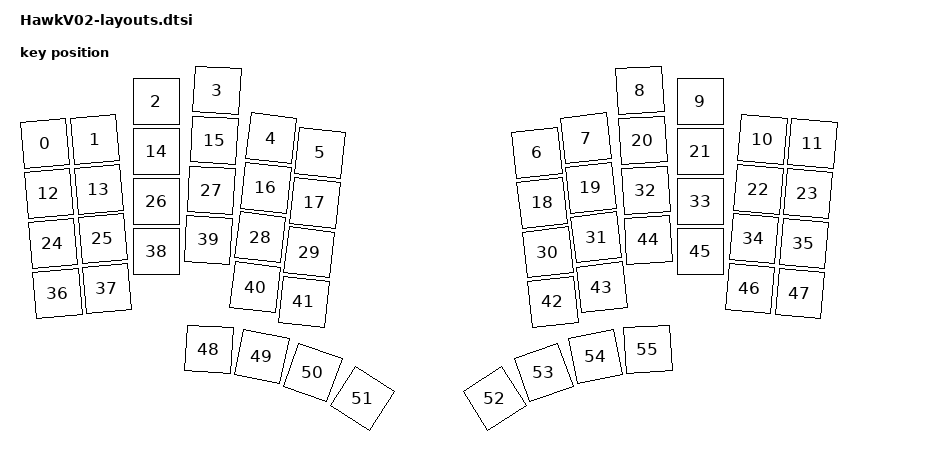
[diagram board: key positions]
#include <physical_layouts.dtsi>

/ {
    physical_layout0: physical_layout_0 {
        compatible = "zmk,physical-layout";
        display-name = "Default Layout";
        transform = <&default_transform>;
        kscan = <&kscan0>;

        keys  //                     w   h    x    y     rot    rx    ry
            = <&key_physical_attrs 100 100    0  107  (-500)    50   157>
            , <&key_physical_attrs 100 100  100   98  (-500)   150   148>
            , <&key_physical_attrs 100 100  223   23       0     0     0>
            , <&key_physical_attrs 100 100  344    0     350   394    50>
            , <&key_physical_attrs 100 100  453   96     650   503   146>
            , <&key_physical_attrs 100 100  550  125     650   600   175>
            , <&key_physical_attrs 100 100  984  125  (-650)  1034   175>
            , <&key_physical_attrs 100 100 1082   96  (-650)  1132   146>
            , <&key_physical_attrs 100 100 1190    0  (-350)  1240    50>
            , <&key_physical_attrs 100 100 1311   23       0     0     0>
            , <&key_physical_attrs 100 100 1435   98     500  1485   148>
            , <&key_physical_attrs 100 100 1535  107     500  1585   157>
            , <&key_physical_attrs 100 100    8  207  (-500)    58   257>
            , <&key_physical_attrs 100 100  108  198  (-500)   158   248>
            , <&key_physical_attrs 100 100  223  123       0     0     0>
            , <&key_physical_attrs 100 100  339  100     350   389   150>
            , <&key_physical_attrs 100 100  442  195     650   492   245>
            , <&key_physical_attrs 100 100  540  225     650   590   275>
            , <&key_physical_attrs 100 100  995  225  (-650)  1045   275>
            , <&key_physical_attrs 100 100 1092  195  (-650)  1142   245>
            , <&key_physical_attrs 100 100 1196  100  (-350)  1246   150>
            , <&key_physical_attrs 100 100 1311  123       0     0     0>
            , <&key_physical_attrs 100 100 1427  198     500  1477   248>
            , <&key_physical_attrs 100 100 1526  207     500  1576   257>
            , <&key_physical_attrs 100 100   16  306  (-500)    66   356>
            , <&key_physical_attrs 100 100  116  297  (-500)   166   347>
            , <&key_physical_attrs 100 100  223  223       0     0     0>
            , <&key_physical_attrs 100 100  333  200     350   383   250>
            , <&key_physical_attrs 100 100  431  294     650   481   344>
            , <&key_physical_attrs 100 100  529  324     650   579   374>
            , <&key_physical_attrs 100 100 1006  324  (-650)  1056   374>
            , <&key_physical_attrs 100 100 1103  294  (-650)  1153   344>
            , <&key_physical_attrs 100 100 1202  200  (-350)  1252   250>
            , <&key_physical_attrs 100 100 1311  223       0     0     0>
            , <&key_physical_attrs 100 100 1418  297     500  1468   347>
            , <&key_physical_attrs 100 100 1518  306     500  1568   356>
            , <&key_physical_attrs 100 100   25  406  (-500)    75   456>
            , <&key_physical_attrs 100 100  124  397  (-500)   174   447>
            , <&key_physical_attrs 100 100  223  323       0     0     0>
            , <&key_physical_attrs 100 100  327  299     350   377   349>
            , <&key_physical_attrs 100 100  421  394     650   471   444>
            , <&key_physical_attrs 100 100  518  423     650   568   473>
            , <&key_physical_attrs 100 100 1016  423  (-650)  1066   473>
            , <&key_physical_attrs 100 100 1114  394  (-650)  1164   444>
            , <&key_physical_attrs 100 100 1207  299  (-350)  1257   349>
            , <&key_physical_attrs 100 100 1311  323       0     0     0>
            , <&key_physical_attrs 100 100 1410  397     500  1460   447>
            , <&key_physical_attrs 100 100 1510  406     500  1560   456>
            , <&key_physical_attrs 100 100  328  518     350   378   568>
            , <&key_physical_attrs 100 100  434  533    1150   484   583>
            , <&key_physical_attrs 100 100  536  564    1950   586   614>
            , <&key_physical_attrs 100 100  635  616    3250   685   666>
            , <&key_physical_attrs 100 100  900  616 (-3250)   950   666>
            , <&key_physical_attrs 100 100  998  564 (-1950)  1048   614>
            , <&key_physical_attrs 100 100 1101  533 (-1150)  1151   583>
            , <&key_physical_attrs 100 100 1206  518  (-350)  1256   568>
            ;
    };
};
